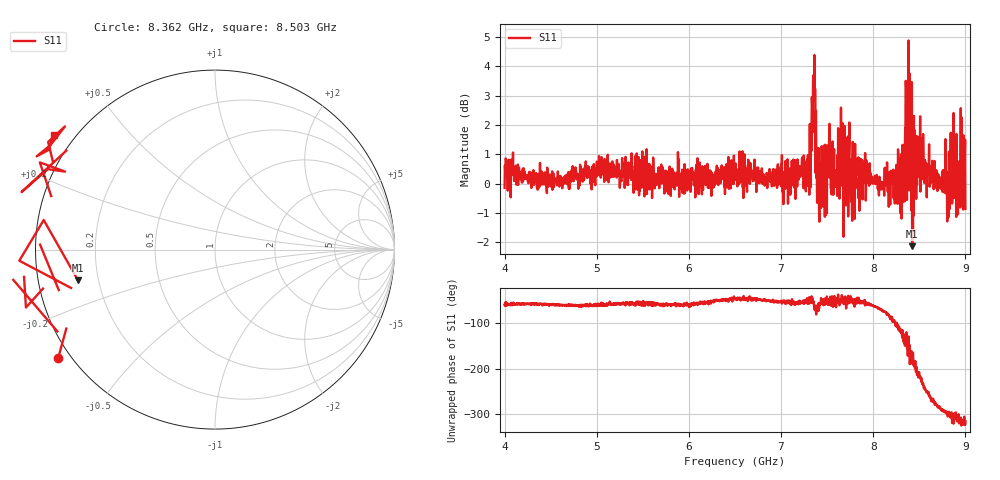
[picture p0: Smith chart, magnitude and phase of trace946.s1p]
! Created with skrf 1.8.0 (http://scikit-rf.org).
# Hz S RI R 50.0
!freq ReS11 ImS11
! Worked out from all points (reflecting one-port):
!   1601 points, 4 GHz to 9 GHz, reference 50 ohm
!   lowest |S11| = -2.1 dB at 8.422 GHz (marker M1), VSWR 8.19, Z = 6.18 - j5.45 ohm
!   phase of S11 starts at -59 deg and turns -257 deg over the sweep
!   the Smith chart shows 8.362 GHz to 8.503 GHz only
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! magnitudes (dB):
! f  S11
! 4 GHz  -0.1
! 4.094 GHz  0.3
! 4.625 GHz  -0.2
! 5.25 GHz  -0.1
! 5.875 GHz  0.2
! 6.5 GHz  0.5
! 7.125 GHz  0.3
! 7.294 GHz  0.2
! 7.319 GHz  -0.1
! 7.347 GHz  3.5
! 7.359 GHz  3.3
! 7.412 GHz  -0.9
! 7.472 GHz  0.1
! 7.512 GHz  1.1
! 7.591 GHz  0.4
! 7.669 GHz  2.1
! 7.75 GHz  0.2
! 8.097 GHz  0.0
! 8.253 GHz  0.4
! 8.316 GHz  0.2
! 8.331 GHz  0.0
! 8.375 GHz  1.1
! 8.422 GHz  -2.1
! 8.447 GHz  1.8
! 8.522 GHz  1.5
! 8.791 GHz  -0.2
! 8.972 GHz  0.4
! 9 GHz  -0.9
